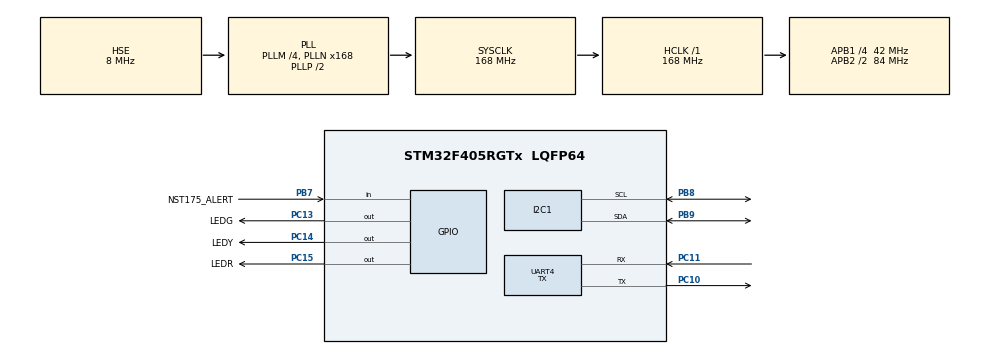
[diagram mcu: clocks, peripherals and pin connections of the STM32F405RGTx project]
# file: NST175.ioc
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Dma.Request0=UART4_TX
Dma.UART4_TX.0.Direction=DMA_MEMORY_TO_PERIPH
Dma.UART4_TX.0.FIFOMode=DMA_FIFOMODE_DISABLE
Dma.UART4_TX.0.Instance=DMA1_Stream4
Dma.UART4_TX.0.MemDataAlignment=DMA_MDATAALIGN_BYTE
Dma.UART4_TX.0.MemInc=DMA_MINC_ENABLE
Dma.UART4_TX.0.Mode=DMA_NORMAL
Dma.UART4_TX.0.PeriphDataAlignment=DMA_PDATAALIGN_BYTE
Dma.UART4_TX.0.PeriphInc=DMA_PINC_DISABLE
Dma.UART4_TX.0.Priority=DMA_PRIORITY_LOW
FREERTOS.HEAP_NUMBER=1
FREERTOS.Queues01=tempQueue,16,float,0,Dynamic,NULL,NULL
FREERTOS.Tasks01=i2cTask,24,256,I2C_Task,Default,NULL,Dynamic,NULL,NULL;ledTask,8,256,LED_Task,Default,NULL,Dynamic,NULL,NULL
FREERTOS.configENABLE_BACKWARD_COMPATIBILITY=0
FREERTOS.configENABLE_FPU=1
FREERTOS.configUSE_OS2_THREAD_ENUMERATE=0
FREERTOS.configUSE_TRACE_FACILITY=0
I2C1.I2C_Mode=I2C_Fast
Mcu.Family=STM32F4
Mcu.Name=STM32F405RGTx
Mcu.Package=LQFP64
NVIC.DMA1_Stream4_IRQn=true\:5\:0\:false\:false\:true\:true\:false\:true\:true
NVIC.PriorityGroup=NVIC_PRIORITYGROUP_4
NVIC.TIM8_TRG_COM_TIM14_IRQn=true\:15\:0\:false\:false\:true\:false\:false\:true\:true
NVIC.TimeBase=TIM8_TRG_COM_TIM14_IRQn
NVIC.TimeBaseIP=TIM14
PA13.Mode=Trace_Asynchronous_SW
PA13.Signal=SYS_JTMS-SWDIO
PA14.Mode=Trace_Asynchronous_SW
PA14.Signal=SYS_JTCK-SWCLK
PB3.Mode=Trace_Asynchronous_SW
PB3.Signal=SYS_JTDO-SWO
PB7.GPIO_Label=NST175_ALERT
PB7.GPIO_PuPd=GPIO_PULLUP
PB7.Signal=GPIO_Input
PB8.Mode=I2C
PB8.Signal=I2C1_SCL
PB9.Mode=I2C
PB9.Signal=I2C1_SDA
PC10.Mode=Asynchronous
PC10.Signal=UART4_TX
PC11.Mode=Asynchronous
PC11.Signal=UART4_RX
PC13-ANTI_TAMP.GPIO_Label=LEDG
PC13-ANTI_TAMP.GPIO_ModeDefaultOutputPP=GPIO_MODE_OUTPUT_OD
PC13-ANTI_TAMP.GPIO_PuPd=GPIO_NOPULL
PC13-ANTI_TAMP.GPIO_Speed=GPIO_SPEED_FREQ_LOW
PC13-ANTI_TAMP.PinState=GPIO_PIN_SET
PC13-ANTI_TAMP.Signal=GPIO_Output
PC14-OSC32_IN.GPIO_Label=LEDY
PC14-OSC32_IN.GPIO_ModeDefaultOutputPP=GPIO_MODE_OUTPUT_OD
PC14-OSC32_IN.GPIO_PuPd=GPIO_NOPULL
PC14-OSC32_IN.GPIO_Speed=GPIO_SPEED_FREQ_LOW
PC14-OSC32_IN.PinState=GPIO_PIN_SET
PC14-OSC32_IN.Signal=GPIO_Output
PC15-OSC32_OUT.GPIO_Label=LEDR
PC15-OSC32_OUT.GPIO_ModeDefaultOutputPP=GPIO_MODE_OUTPUT_OD
PC15-OSC32_OUT.GPIO_PuPd=GPIO_NOPULL
PC15-OSC32_OUT.GPIO_Speed=GPIO_SPEED_FREQ_LOW
PC15-OSC32_OUT.PinState=GPIO_PIN_SET
PC15-OSC32_OUT.Signal=GPIO_Output
PH0-OSC_IN.Mode=HSE-External-Oscillator
PH0-OSC_IN.Signal=RCC_OSC_IN
PH1-OSC_OUT.Mode=HSE-External-Oscillator
PH1-OSC_OUT.Signal=RCC_OSC_OUT
ProjectManager.HeapSize=0x200
ProjectManager.StackSize=0x400
ProjectManager.TargetToolchain=EWARM V8.50
RCC.48MHZClocksFreq_Value=84000000
RCC.AHBFreq_Value=168000000
RCC.APB1CLKDivider=RCC_HCLK_DIV4
RCC.APB1Freq_Value=42000000
RCC.APB1TimFreq_Value=84000000
RCC.APB2CLKDivider=RCC_HCLK_DIV2
RCC.APB2Freq_Value=84000000
RCC.APB2TimFreq_Value=168000000
RCC.CortexFreq_Value=168000000
RCC.HCLKFreq_Value=168000000
RCC.HSE_VALUE=8000000
RCC.HSI_VALUE=16000000
RCC.LSE_VALUE=32768
RCC.PLLM=4
RCC.PLLN=168
RCC.PLLSourceVirtual=RCC_PLLSOURCE_HSE
RCC.SYSCLKFreq_VALUE=168000000
RCC.SYSCLKSource=RCC_SYSCLKSOURCE_PLLCLK
RCC.VCOOutputFreq_Value=336000000
UART4.Mode=MODE_TX
UART4.VirtualMode=Asynchronous
VP_FREERTOS_VS_CMSIS_V2.Mode=CMSIS_V2
VP_SYS_VS_tim14.Mode=TIM14
board=custom

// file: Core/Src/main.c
/* USER CODE BEGIN Header */
/**
 ******************************************************************************
 * @file           : main.c
 * @brief          : Main program body
 ******************************************************************************
 * @attention
 *
 * Copyright (c) 2026 STMicroelectronics.
 * All rights reserved.
 *
 * This software is licensed under terms that can be found in the LICENSE file
 * in the root directory of this software component.
 * If no LICENSE file comes with this software, it is provided AS-IS.
 *
 ******************************************************************************
 */
/* USER CODE END Header */
#include "main.h"
#include "cmsis_os.h"
#include "dma.h"
#include "gpio.h"
#include "i2c.h"
#include "usart.h"

void SystemClock_Config(void);
void MX_FREERTOS_Init(void);

int main(void)
{

    /* MCU Configuration--------------------------------------------------------*/

    /* Reset of all peripherals, Initializes the Flash interface and the Systick. */
    HAL_Init();

    /* Configure the system clock */
    SystemClock_Config();

    /* Initialize all configured peripherals */
    MX_GPIO_Init();
    MX_DMA_Init();
    MX_I2C1_Init();
    MX_UART4_Init();

    /* Init scheduler */
    osKernelInitialize(); /* Call init function for freertos objects (in cmsis_os2.c) */
    MX_FREERTOS_Init();

    /* Start scheduler */
    osKernelStart();

    /* We should never get here as control is now taken by the scheduler */

    /* Infinite loop */
    while (1) {

    }
}

void SystemClock_Config(void)
{
    RCC_OscInitTypeDef RCC_OscInitStruct = {0};
    RCC_ClkInitTypeDef RCC_ClkInitStruct = {0};

    /** Configure the main internal regulator output voltage
     */
    __HAL_RCC_PWR_CLK_ENABLE();
    __HAL_PWR_VOLTAGESCALING_CONFIG(PWR_REGULATOR_VOLTAGE_SCALE1);

    /** Initializes the RCC Oscillators according to the specified parameters
     * in the RCC_OscInitTypeDef structure.
     */
    RCC_OscInitStruct.OscillatorType = RCC_OSCILLATORTYPE_HSE;
    RCC_OscInitStruct.HSEState = RCC_HSE_ON;
    RCC_OscInitStruct.PLL.PLLState = RCC_PLL_ON;
    RCC_OscInitStruct.PLL.PLLSource = RCC_PLLSOURCE_HSE;
    RCC_OscInitStruct.PLL.PLLM = 4;
    RCC_OscInitStruct.PLL.PLLN = 168;
    RCC_OscInitStruct.PLL.PLLP = RCC_PLLP_DIV2;
    RCC_OscInitStruct.PLL.PLLQ = 4;
    if (HAL_RCC_OscConfig(&RCC_OscInitStruct) != HAL_OK)
        Error_Handler();

    /** Initializes the CPU, AHB and APB buses clocks
     */
    RCC_ClkInitStruct.ClockType = RCC_CLOCKTYPE_HCLK | RCC_CLOCKTYPE_SYSCLK | RCC_CLOCKTYPE_PCLK1 | RCC_CLOCKTYPE_PCLK2;
    RCC_ClkInitStruct.SYSCLKSource = RCC_SYSCLKSOURCE_PLLCLK;
    RCC_ClkInitStruct.AHBCLKDivider = RCC_SYSCLK_DIV1;
    RCC_ClkInitStruct.APB1CLKDivider = RCC_HCLK_DIV4;
    RCC_ClkInitStruct.APB2CLKDivider = RCC_HCLK_DIV2;

    if (HAL_RCC_ClockConfig(&RCC_ClkInitStruct, FLASH_LATENCY_5) != HAL_OK)
        Error_Handler();
}

void HAL_TIM_PeriodElapsedCallback(TIM_HandleTypeDef *htim)
{
    if (htim->Instance == TIM14)
        HAL_IncTick();
}

void Error_Handler(void)
{
    /* USER CODE BEGIN Error_Handler_Debug */
    /* User can add his own implementation to report the HAL error return state */
    __disable_irq();
    LEDG_OFF, LEDY_OFF, LEDR_ON;
    while (1) {}
    /* USER CODE END Error_Handler_Debug */
}

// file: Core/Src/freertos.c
/* USER CODE BEGIN Header */
/**
 ******************************************************************************
 * File Name          : freertos.c
 * Description        : Code for freertos applications
 ******************************************************************************
 * @attention
 *
 * Copyright (c) 2026 STMicroelectronics.
 * All rights reserved.
 *
 * This software is licensed under terms that can be found in the LICENSE file
 * in the root directory of this software component.
 * If no LICENSE file comes with this software, it is provided AS-IS.
 *
 ******************************************************************************
 */
/* USER CODE END Header */

#include "FreeRTOS.h"
#include "cmsis_os.h"
#include "main.h"
#include "task.h"

/* USER CODE BEGIN Includes */
#include "nst175_ifc.h"
#include "usart.h"
#include <stdio.h>
#include <string.h>
/* USER CODE END Includes */

/* Definitions for i2cTask */
osThreadId_t i2cTaskHandle;
const osThreadAttr_t i2cTask_attributes = {
    .name = "i2cTask",
    .stack_size = 256 * 4,
    .priority = (osPriority_t) osPriorityNormal,
};
/* Definitions for ledTask */
osThreadId_t ledTaskHandle;
const osThreadAttr_t ledTask_attributes = {
    .name = "ledTask",
    .stack_size = 256 * 4,
    .priority = (osPriority_t) osPriorityLow,
};
/* Definitions for tempQueue */
osMessageQueueId_t tempQueueHandle;
const osMessageQueueAttr_t tempQueue_attributes = {.name = "tempQueue"};

void I2C_Task(void *argument);
void LED_Task(void *argument);

void MX_FREERTOS_Init(void); /* (MISRA C 2004 rule 8.1) */

void MX_FREERTOS_Init(void)
{

    /* Create the queue(s) */
    /* creation of tempQueue */
    tempQueueHandle = osMessageQueueNew(16, sizeof(float), &tempQueue_attributes);

    /* Create the thread(s) */
    /* creation of i2cTask */
    i2cTaskHandle = osThreadNew(I2C_Task, NULL, &i2cTask_attributes);

    /* creation of ledTask */
    ledTaskHandle = osThreadNew(LED_Task, NULL, &ledTask_attributes);

}

void I2C_Task(void *argument)
{
    /* USER CODE BEGIN I2C_Task */
    static nst175_t tempSensor;
    static float tempFiltered;
    static uint32_t stackFree;
    float temp = 0;
    const float alphaTemp = 0.05;
    char plotString[50] = {0};

    NST175_SetUp(&tempSensor);
    /* Infinite loop */
    for (;;) {
        stackFree = osThreadGetStackSpace(osThreadGetId());
        UNUSED(stackFree);

        NST175_TemperatureGet(&tempSensor, &temp, 0);
        tempFiltered = alphaTemp * temp + (1 - alphaTemp) * tempFiltered;
        osMessageQueuePut(tempQueueHandle, &tempFiltered, 0, 0);

        /* Plot measured values */
        snprintf(plotString, sizeof(plotString), "%.2f\n", (double) tempFiltered);
        HAL_UART_Transmit(&huart4, (const uint8_t *) plotString, strnlen(plotString, sizeof(plotString)), 1000);

        /* - In continuous-conversion (default) mode wait between samples.
         * - In shutdown (low power) mode, one-shot measurement is automatically triggered and sample ready flag is
         * checked within `NST175_TemperatureGet()` applying timeout provided in args
         */
        osDelay(NST175_CONVERSION_TIME);
    }
    /* USER CODE END I2C_Task */
}

void LED_Task(void *argument)
{
    /* USER CODE BEGIN LED_Task */
    float temperatureReadings;
    /* Startup traffic light */
    for (uint8_t i = 0; i < 5; i++) {
        LEDR_ON, LEDY_ON, LEDG_ON, osDelay(100);
        LEDR_OFF, LEDY_OFF, LEDG_OFF, osDelay(100);
    }
    /* Infinite loop */
    for (;;) {
        osMessageQueueGet(tempQueueHandle, &temperatureReadings, NULL, osWaitForever);
        if (temperatureReadings > 80)
            LEDR_ON, LEDY_OFF, LEDG_OFF;
        else if (temperatureReadings > 40)
            LEDR_OFF, LEDY_ON, LEDG_OFF;
        else
            LEDR_OFF, LEDY_OFF, LEDG_ON;
    }
    /* USER CODE END LED_Task */
}
